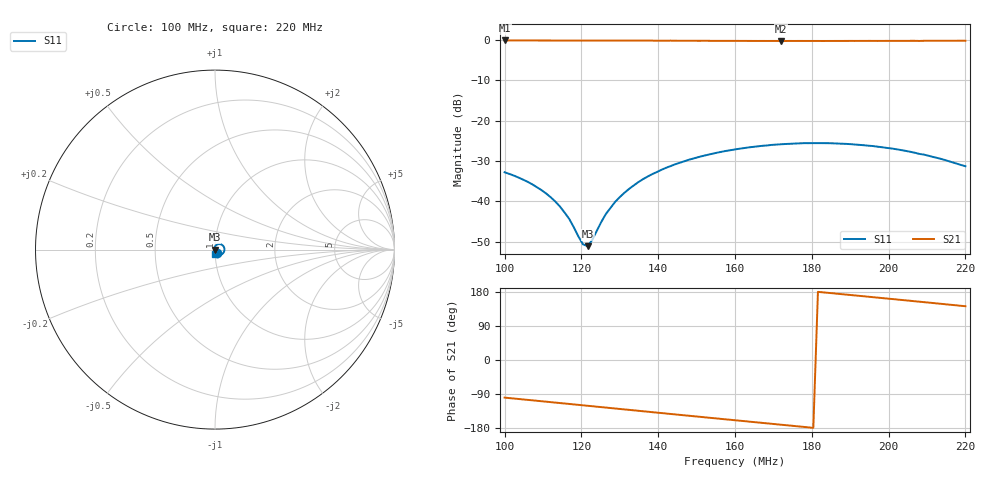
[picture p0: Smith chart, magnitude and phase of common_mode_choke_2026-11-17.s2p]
# HZ S RI R 50
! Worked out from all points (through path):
!   101 points, 100 MHz to 220 MHz, reference 50 ohm
!   highest |S21| = -0.11 dB at 100 MHz (marker M1); lowest = -0.2 dB at 172 MHz (marker M2)
!   group delay of S21, straight-line fit = 2.75 ns
!   lowest |S11| = -51.1 dB at 121.6 MHz (marker M3), VSWR 1.01, Z = 49.7 - j0.00887 ohm
!   |S11| at or under -10 dB: start of sweep to end of sweep
!   S12 and S22 are empty: the file has one direction only
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1e8  0.0131 -0.0188  -0.1597 -0.9749  0 0  0 0
1.06e8  0.0072 -0.0159  -0.259 -0.9525  0 0  0 0
1.096e8  0.00401 -0.0132  -0.3177 -0.9341  0 0  0 0
1.12e8  0.00209 -0.011  -0.3564 -0.9198  0 0  0 0
1.144e8  0.000381 -0.00861  -0.3943 -0.904  0 0  0 0
1.168e8  -0.000935 -0.006  -0.4316 -0.8865  0 0  0 0
1.204e8  -0.00242 -0.00165  -0.4861 -0.8572  0 0  0 0
1.216e8  -0.00277 -8.92e-05  -0.504 -0.8468  0 0  0 0
1.228e8  -0.00295 0.00149  -0.5214 -0.8356  0 0  0 0
1.264e8  -0.00304 0.00629  -0.5726 -0.8007  0 0  0 0
1.288e8  -0.00266 0.00949  -0.6054 -0.7758  0 0  0 0
1.312e8  -0.00166 0.0126  -0.6377 -0.7493  0 0  0 0
1.348e8  0.000288 0.0172  -0.6829 -0.7073  0 0  0 0
1.408e8  0.00567 0.0238  -0.7516 -0.6315  0 0  0 0
1.48e8  0.0148 0.0292  -0.8225 -0.5314  0 0  0 0
1.6e8  0.033 0.029  -0.9113 -0.3503  0 0  0 0
1.72e8  0.048 0.0172  -0.9602 -0.1556  0 0  0 0
1.804e8  0.0525 0.00354  -0.9738 -0.0172  0 0  0 0
1.9e8  0.0494 -0.0132  -0.9646 0.1421  0 0  0 0
2.008e8  0.0356 -0.0278  -0.9232 0.3176  0 0  0 0
2.092e8  0.0194 -0.0326  -0.8692 0.4488  0 0  0 0
2.2e8  -0.00241 -0.0271  -0.7708 0.6052  0 0  0 0
